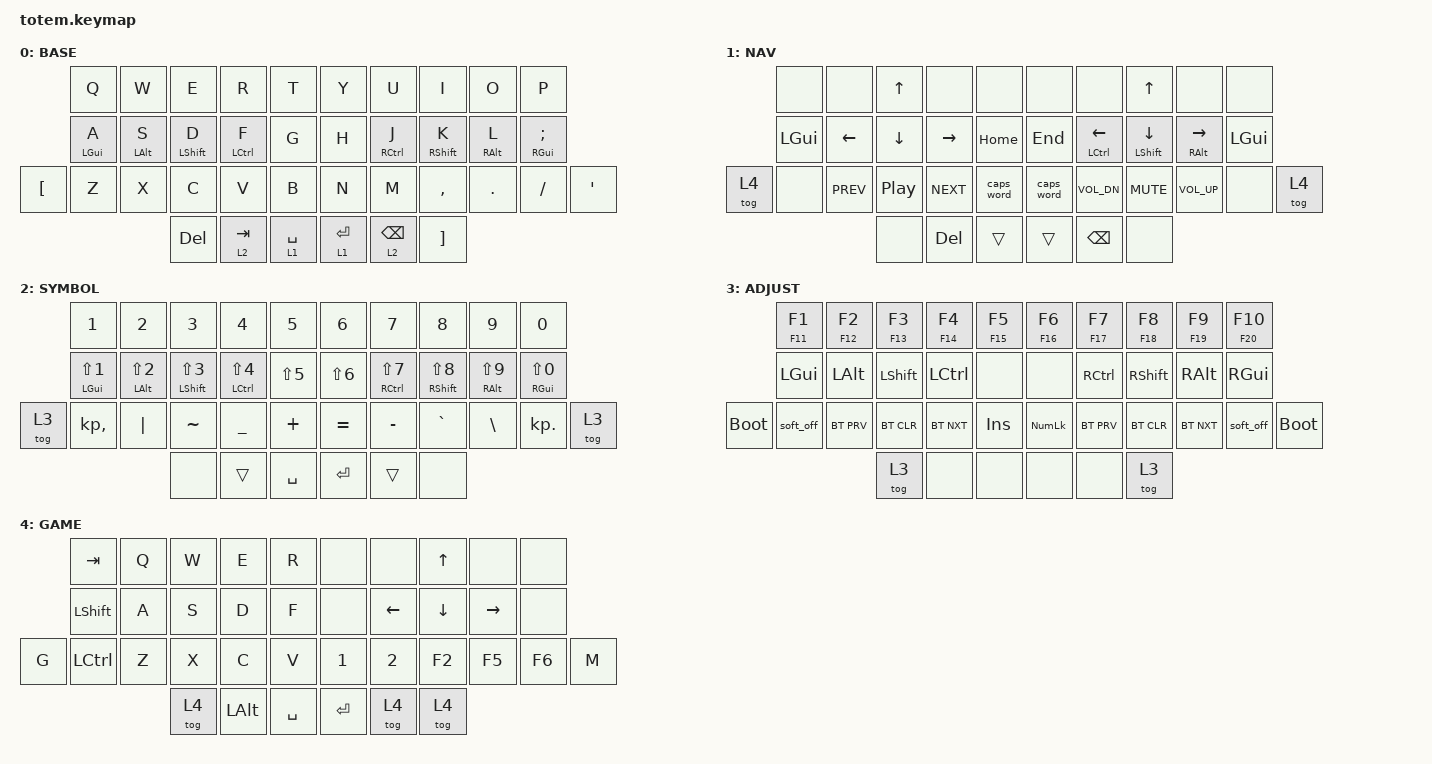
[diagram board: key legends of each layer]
//
//                                                        ▀▀▀▀▀     ▀▀▀▀▀          ▀▀█▀▀
//                                                        ▄▀▀▀▄  ▄  ▄▀▀▀▄  ▄  ▄▀▀▀▄  █  ▄▀▀▀▄
//                                                        █   █  █  █   █  █  █   █  █  █   █
//                                                         ▀▀▀   █   ▀▀▀   █   ▀▀▀   ▀   ▀▀▀
//                                                               █      ▄▄▄█▄▄▄    █   █  
//                                                               ▀      █  █  █     █▄█
//                                                             ▀▀▀▀▀    █  █  █      ▀
//                                                                      ▀  ▀  ▀
//
// ▄▄▄▄▄▄▄▄▄▄▄▄▄▄▄▄▄▄▄▄▄▄▄▄▄▄▄▄▄▄▄▄▄▄▄▄▄▄▄▄▄▄▄▄▄▄▄▄▄▄▄▄▄▄▄▄▄▄▄▄▄▄▄▄▄▄▄▄▄▄▄▄▄▄▄▄▄▄▄▄▄▄▄▄▄▄▄▄▄▄▄▄▄▄▄▄▄▄▄▄▄▄▄▄▄▄▄▄▄▄▄▄▄▄▄▄▄▄▄▄▄▄▄▄▄▄▄▄▄▄▄▄▄▄▄▄▄▄▄▄▄▄▄▄▄▄▄▄▄

#include <behaviors.dtsi>
#include <dt-bindings/zmk/bt.h>
#include <dt-bindings/zmk/keys.h>

#define BASE 0
#define NAV  1
#define SYM  2
#define ADJ  3
#define TVP1 4
#define TVP2 5

&mt {
    quick-tap-ms = <175>;
    flavor = "balanced";
    tapping-term-ms = <280>;
    require-prior-idle-ms = <150>;
};

&lt {
    tapping-term-ms = <280>;
    quick-tap-ms = <175>;
    require-prior-idle-ms = <150>;
    flavor = "balanced";
};

/ {
    combos {
        compatible = "zmk,combos";

        change_input {
            bindings = <&kp LS(LALT)>;
            key-positions = <34 35>;
        };

        move_window {
            bindings = <&kp LS(LG(LEFT))>;
            key-positions = <2 7>;
        };

        esc_right {
            bindings = <&kp ESC>;
            key-positions = <17 18 16>;
        };

        esc_left {
            bindings = <&kp ESC>;
            key-positions = <11 12 13>;
        };
    };

    keymap {
        compatible = "zmk,keymap";

        qwerty {
            display-name = "BASE";
            bindings = <
                  &kp Q       &kp W           &kp E        &kp R        &kp T          &kp Y        &kp U            &kp I              &kp O       &kp P
                  &mt LGUI A  &mt LEFT_ALT S  &mt LSHFT D  &mt LCTRL F  &kp G          &kp H        &mt RCTRL J      &mt RSHFT K        &mt RALT L  &mt RGUI SEMI
&kp LEFT_BRACKET  &kp Z       &kp X           &kp C        &kp V        &kp B          &kp N        &kp M            &kp COMMA          &kp DOT     &kp FSLH       &kp SQT
                                              &kp DEL      &lt 2 TAB    &lt 1 SPACE    &lt 1 ENTER  &lt 2 BACKSPACE  &kp RIGHT_BRACKET
            >;
        };

        navigation {
            display-name = "NAV";
            bindings = <
        &none         &none       &kp UP    &none       &none         &none       &none           &kp UP                &none           &none
        &kp LEFT_GUI  &kp LEFT    &kp DOWN  &kp RIGHT   &kp HOME      &kp END     &mt LCTRL LEFT  &mt LSHFT DOWN_ARROW  &mt RALT RIGHT  &kp LGUI
&tog 4  &none         &kp C_PREV  &kp C_PP  &kp C_NEXT  &caps_word    &caps_word  &kp C_VOL_DN    &kp C_MUTE            &kp C_VOL_UP    &none     &tog 4
                                  &none     &kp DEL     &trans        &trans      &kp BACKSPACE   &none
            >;
        };

        symbol {
            display-name = "SYMBOL";
            bindings = <
        &kp N1                 &kp N2                 &kp N3                   &kp N4                  &kp N5        &kp N6            &kp N7            &kp N8            &kp N9           &kp N0
        &mt LGUI LS(NUMBER_1)  &mt LALT LS(NUMBER_2)  &mt LSHIFT LS(NUMBER_3)  &mt LCTRL LS(NUMBER_4)  &kp LS(N5)    &kp LS(NUMBER_6)  &mt RCTRL LS(N7)  &mt RSHFT LS(N8)  &mt RALT LS(N9)  &mt RGUI LS(N0)
&tog 3  &kp KP_COMMA           &kp PIPE               &kp TILDE                &kp UNDER               &kp PLUS      &kp EQUAL         &kp MINUS         &kp GRAVE         &kp BACKSLASH    &kp KP_DOT       &tog 3
                                                      &none                    &trans                  &kp SPACE     &kp ENTER         &trans            &none
            >;
        };

        func {
            display-name = "ADJUST";
            bindings = <
             &mt F11 F1  &mt F12 F2  &mt F13 F3  &mt F14 F4  &mt F15 F5    &mt F16 F6      &mt F17 F7  &mt F18 F8  &mt F19 F9  &mt F20 F10
             &kp LGUI    &kp LALT    &kp LSHFT   &kp LCTRL   &none         &none           &kp RCTRL   &kp RSHFT   &kp RALT    &kp RGUI
&bootloader  &soft_off   &bt BT_PRV  &bt BT_CLR  &bt BT_NXT  &kp INS       &kp KP_NUMLOCK  &bt BT_PRV  &bt BT_CLR  &bt BT_NXT  &soft_off    &bootloader
                                     &tog 3      &none       &none         &none           &none       &tog 3
            >;
        };

        game {
            display-name = "GAME";
            bindings = <
       &kp TAB    &kp Q  &kp W   &kp E     &kp R        &none      &none     &kp UP    &none      &none
       &kp LSHFT  &kp A  &kp S   &kp D     &kp F        &none      &kp LEFT  &kp DOWN  &kp RIGHT  &none
&kp G  &kp LCTRL  &kp Z  &kp X   &kp C     &kp V        &kp N1     &kp N2    &kp F2    &kp F5     &kp F6  &kp M
                         &tog 4  &kp LALT  &kp SPACE    &kp ENTER  &tog 4    &tog 4
            >;
        };
    };
};
